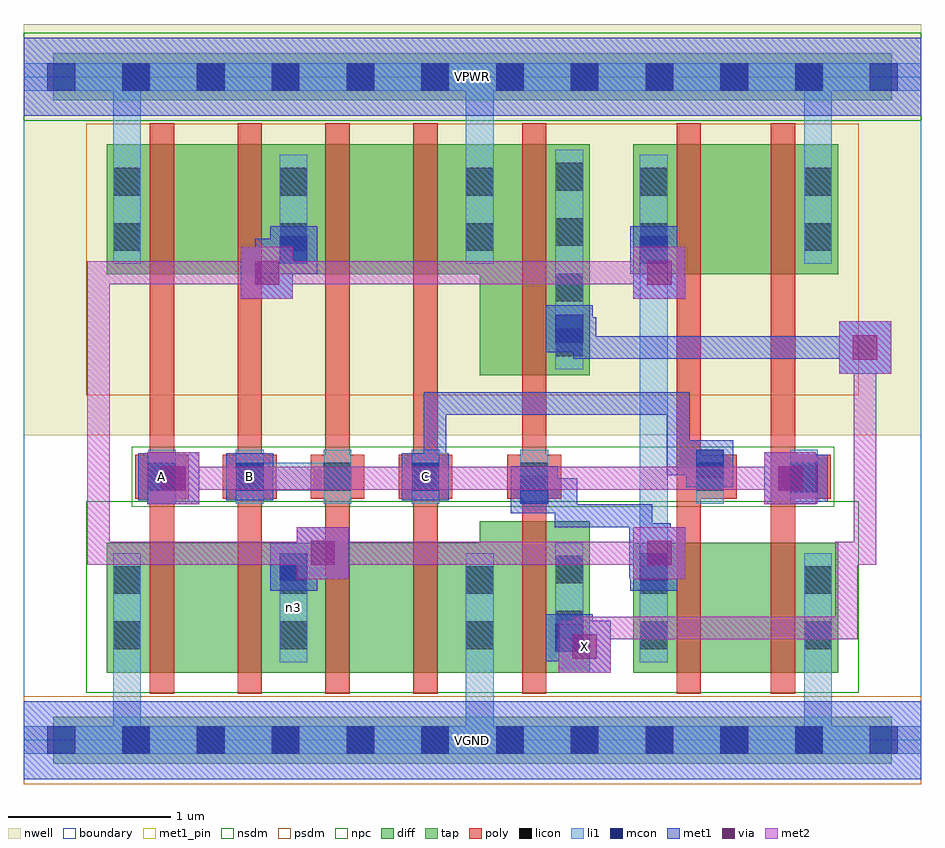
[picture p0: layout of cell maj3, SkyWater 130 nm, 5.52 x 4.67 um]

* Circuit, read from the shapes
.subckt maj3 A B C VGND VPWR X n3
XM1 n1 A VGND VGND sky130_fd_pr__nfet_01v8 w=0.8 l=0.15
XM2 n3 B n1 VGND sky130_fd_pr__nfet_01v8 w=0.8 l=0.15
XM3 n2 B n3 VGND sky130_fd_pr__nfet_01v8 w=0.8 l=0.15
XM4 VGND C n2 VGND sky130_fd_pr__nfet_01v8 w=0.8 l=0.15
XM5 X n3 VGND VGND sky130_fd_pr__nfet_01v8 w=0.93 l=0.15
XM6 n4 C n3 VGND sky130_fd_pr__nfet_01v8 w=0.8 l=0.15
XM7 VGND A n4 VGND sky130_fd_pr__nfet_01v8 w=0.8 l=0.15
XM8 n5 A VPWR VPWR sky130_fd_pr__pfet_01v8 w=0.8 l=0.15
XM9 n3 B n5 VPWR sky130_fd_pr__pfet_01v8 w=0.8 l=0.15
XM10 n6 B n3 VPWR sky130_fd_pr__pfet_01v8 w=0.8 l=0.15
XM11 VPWR C n6 VPWR sky130_fd_pr__pfet_01v8 w=0.8 l=0.15
XM12 X n3 VPWR VPWR sky130_fd_pr__pfet_01v8 w=1.42 l=0.15
XM13 n7 C n3 VPWR sky130_fd_pr__pfet_01v8 w=0.8 l=0.15
XM14 VPWR A n7 VPWR sky130_fd_pr__pfet_01v8 w=0.8 l=0.15
.ends

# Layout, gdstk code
import gdstk
lib = gdstk.Library(unit=1e-6, precision=1e-09)
def R(c, l, rs):  # rectangles x0, y0, x1, y1
    for r in rs: c.add(gdstk.rectangle(r[:2], r[2:], *l))
def A(c, l, x, y, w, h, nx, ny, dx, dy):  # array of equal rectangles
    R(c, l, [(x+i*dx, y+j*dy, x+i*dx+w, y+j*dy+h) for i in range(nx) for j in range(ny)])
nwell = (64, 20)
diff = (65, 20)
tap = (65, 44)
poly = (66, 20)
licon = (66, 44)
li1 = (67, 20)
mcon = (67, 44)
met1_pin = (68, 16)
met1 = (68, 20)
via = (68, 44)
met2 = (69, 20)
nsdm = (93, 44)
psdm = (94, 20)
npc = (95, 20)
boundary = (235, 4)

maj3 = lib.new_cell('maj3')
R(maj3, nwell, [(0,1.875,5.52,4.405)])
R(maj3, diff, [(0.51,0.415,2.805,1.215), (2.805,0.415,3.48,1.345), (3.75,0.415,5.01,1.215), (2.805,2.245,3.48,3.665), (0.51,2.865,2.805,3.665), (3.75,2.865,5.01,3.665)])
R(maj3, tap, [(0.18,-0.145,5.34,0.145), (0.18,3.935,5.34,4.225)])
A(maj3, poly, 0.775, 0.285, 0.15, 3.51, 4, 1, 0.54, 0)
A(maj3, poly, 0.685, 1.485, 0.33, 0.27, 4, 1, 0.54, 0)
R(maj3, poly, [(3.065,0.285,3.215,3.795), (4.015,0.285,4.165,3.795), (4.595,0.285,4.745,3.795), (2.975,1.485,3.305,1.755), (4.055,1.485,4.385,1.755), (4.635,1.485,4.965,1.755)])
A(maj3, licon, 0.605, -0.085, 0.17, 0.17, 10, 2, 0.46, 4.08)
A(maj3, licon, 0.765, 1.535, 0.17, 0.17, 4, 1, 0.54, 0)
A(maj3, licon, 3.27, 2.36, 0.17, 0.17, 1, 4, 0, 0.34)
R(maj3, licon, [(0.55,0.56,0.72,0.73), (1.575,0.56,1.745,0.73), (2.72,0.56,2.89,0.73), (3.79,0.56,3.96,0.73), (4.8,0.56,4.97,0.73), (3.27,0.625,3.44,0.795), (0.55,0.9,0.72,1.07), (1.575,0.9,1.745,1.07), (2.72,0.9,2.89,1.07), (3.79,0.9,3.96,1.07), (4.8,0.9,4.97,1.07), (3.27,0.965,3.44,1.135), (3.055,1.535,3.225,1.705), (4.135,1.535,4.305,1.705), (4.715,1.535,4.885,1.705), (0.55,3.01,0.72,3.18), (1.575,3.01,1.745,3.18), (2.72,3.01,2.89,3.18), (3.79,3.01,3.96,3.18), (4.8,3.01,4.97,3.18), (0.55,3.35,0.72,3.52), (1.575,3.35,1.745,3.52), (2.72,3.35,2.89,3.52), (3.79,3.35,3.96,3.52), (4.8,3.35,4.97,3.52)])
A(maj3, li1, 0.765, 1.455, 0.17, 0.33, 4, 1, 0.54, 0)
R(maj3, li1, [(0,-0.085,5.52,0.085), (0.55,-0.085,0.72,1.15), (2.72,-0.085,2.89,1.15), (4.8,-0.085,4.97,1.15), (0.55,0.48,0.72,1.15), (1.575,0.48,1.745,1.15), (2.72,0.48,2.89,1.15), (3.79,0.48,3.96,1.15), (3.79,0.48,3.96,3.6), (4.8,0.48,4.97,1.15), (3.27,0.545,3.44,1.215), (3.055,1.455,3.225,1.785), (4.135,1.455,4.305,1.785), (4.715,1.455,4.885,1.785), (1.305,1.535,2.015,1.705), (3.27,2.28,3.44,3.63), (0.55,2.93,0.72,3.6), (0.55,2.93,0.72,4.165), (1.575,2.93,1.745,3.6), (2.72,2.93,2.89,3.6), (2.72,2.93,2.89,4.165), (3.79,2.93,3.96,3.6), (4.8,2.93,4.97,3.6), (4.8,2.93,4.97,4.165), (0,3.995,5.52,4.165)])
A(maj3, mcon, 0.145, -0.085, 0.17, 0.17, 12, 2, 0.46, 4.08)
R(maj3, mcon, [(3.27,0.545,3.44,0.715), (1.575,0.98,1.745,1.15), (3.79,0.98,3.96,1.15), (3.055,1.455,3.225,1.625), (4.715,1.525,4.885,1.695), (0.765,1.535,0.935,1.705), (1.305,1.535,1.475,1.705), (2.385,1.535,2.555,1.705), (4.135,1.615,4.305,1.785), (3.27,2.445,3.44,2.615), (1.575,2.93,1.745,3.1), (3.79,2.93,3.96,3.1)])
R(maj3, met1_pin, [(0,-0.24,5.52,0.24), (3.29,0.415,3.61,0.735), (0.705,1.475,0.995,1.765), (1.245,1.475,1.535,1.765), (2.325,1.475,2.615,1.765), (0,3.84,5.52,4.32)])
R(maj3, met1, [(0,-0.24,5.52,0.24), (3.29,0.415,3.61,0.735), (3.21,0.485,3.5,0.775), (3.38,0.505,3.52,0.7), (3.285,0.56,3.52,0.7), (1.515,0.92,1.805,1.21), (3.73,0.92,4.02,1.21), (1.68,0.99,2,1.31), (3.75,0.99,4.07,1.31), (1.59,0.995,1.91,1.135), (1.77,0.995,1.91,1.22), (3.725,0.995,3.945,1.135), (3.725,0.995,3.865,1.335), (3.84,1.08,3.98,1.335), (3.725,1.135,3.945,1.195), (3.725,1.195,3.865,1.45), (3.725,1.195,3.98,1.335), (3.265,1.31,3.405,1.61), (3.265,1.31,3.865,1.45), (2.995,1.395,3.285,1.685), (0.76,1.45,1.08,1.77), (4.555,1.45,4.875,1.77), (4.655,1.465,4.945,1.755), (3.07,1.47,3.405,1.61), (0.705,1.475,0.995,1.765), (1.245,1.475,1.535,1.765), (2.325,1.475,2.615,1.765), (0.85,1.54,0.99,1.68), (2.46,1.54,2.6,1.68), (2.46,1.54,2.6,2.14), (4.645,1.54,4.87,1.68), (4.075,1.555,4.365,1.845), (3.955,1.63,4.29,1.77), (3.955,1.63,4.095,1.91), (3.955,1.77,4.095,2.14), (2.46,2,4.095,2.14), (5.015,2.255,5.335,2.575), (3.38,2.345,3.52,2.6), (3.38,2.345,5.245,2.485), (3.21,2.385,3.5,2.675), (3.285,2.46,3.52,2.6), (1.335,2.715,1.655,3.035), (3.75,2.715,4.07,3.035), (1.425,2.805,1.565,3.085), (3.84,2.805,3.98,3.085), (1.515,2.87,1.805,3.16), (3.73,2.87,4.02,3.16), (1.425,2.945,1.73,3.085), (3.805,2.945,3.98,3.085), (0,3.84,5.52,4.32)])
R(maj3, via, [(3.375,0.5,3.525,0.65), (1.765,1.075,1.915,1.225), (3.835,1.075,3.985,1.225), (0.845,1.535,0.995,1.685), (4.64,1.535,4.79,1.685), (5.1,2.34,5.25,2.49), (1.42,2.8,1.57,2.95), (3.835,2.8,3.985,2.95)])
R(maj3, met2, [(3.29,0.415,3.61,0.735), (3.38,0.505,3.52,0.76), (3.38,0.62,5.13,0.76), (4.99,0.62,5.13,1.22), (1.68,0.99,2,1.31), (3.75,0.99,4.07,1.31), (0.39,1.08,1.91,1.22), (0.39,1.08,0.53,2.945), (1.77,1.08,3.98,1.22), (4.99,1.08,5.245,1.22), (5.105,1.08,5.245,2.485), (0.76,1.45,1.08,1.77), (4.555,1.45,4.875,1.77), (0.85,1.54,4.785,1.68), (5.015,2.255,5.335,2.575), (1.335,2.715,1.655,3.035), (3.75,2.715,4.07,3.035), (0.39,2.805,1.565,2.945), (1.425,2.805,3.98,2.945)])
R(maj3, nsdm, [(0.385,0.29,5.135,1.47), (0,3.81,5.52,4.35)])
R(maj3, psdm, [(0,-0.27,5.52,0.27), (0.385,2.12,5.135,3.79)])
R(maj3, npc, [(0.665,1.435,4.985,1.805)])
R(maj3, boundary, [(0,0,5.52,4.08)])
maj3.add(gdstk.Label('n3', (1.66,0.815), layer=67, texttype=5))
maj3.add(gdstk.Label('A', (0.85,1.62), layer=68, texttype=5))
maj3.add(gdstk.Label('B', (1.39,1.62), layer=68, texttype=5))
maj3.add(gdstk.Label('C', (2.47,1.62), layer=68, texttype=5))
maj3.add(gdstk.Label('X', (3.45,0.575), layer=68, texttype=5))
maj3.add(gdstk.Label('VPWR', (2.76,4.08), layer=68, texttype=5))
maj3.add(gdstk.Label('VGND', (2.76,0), layer=68, texttype=5))
maj3.add(gdstk.Label('A', (0.85,1.62), layer=68, texttype=16))
maj3.add(gdstk.Label('B', (1.39,1.62), layer=68, texttype=16))
maj3.add(gdstk.Label('C', (2.47,1.62), layer=68, texttype=16))
maj3.add(gdstk.Label('X', (3.45,0.575), layer=68, texttype=16))
maj3.add(gdstk.Label('VPWR', (2.76,4.08), layer=68, texttype=16))
maj3.add(gdstk.Label('VGND', (2.76,0), layer=68, texttype=16))

lib.write_gds('maj3.gds')
